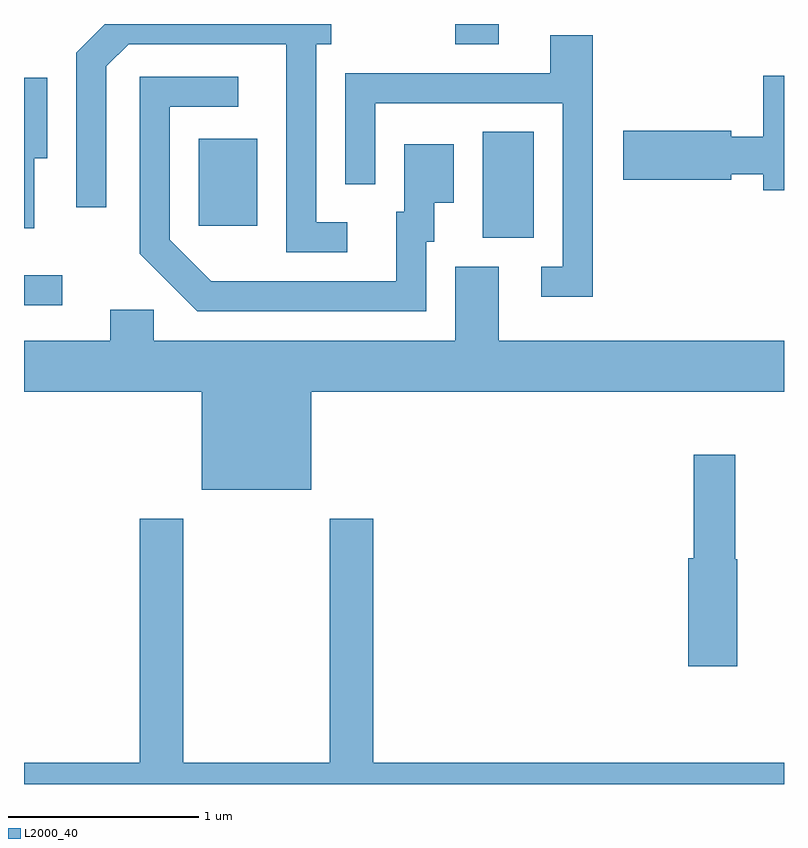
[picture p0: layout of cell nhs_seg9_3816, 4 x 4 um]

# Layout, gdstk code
import gdstk
lib = gdstk.Library(unit=1e-6, precision=1e-09)
def R(c, l, rs):  # rectangles x0, y0, x1, y1
    for r in rs: c.add(gdstk.rectangle(r[:2], r[2:], *l))
def P(c, l, *ps):  # polygons
    for p in ps: c.add(gdstk.Polygon(p, *l))
L2000_40 = (2000, 40)

nhs_seg9_3816 = lib.new_cell('nhs_seg9_3816')
R(nhs_seg9_3816, L2000_40, [(297.611,1978.951,297.813,1979.109), (300.026,1979.306,300.294,1979.864), (298.531,1979.371,298.839,1979.829), (299.881,1980.326,300.109,1980.432)])
P(nhs_seg9_3816, L2000_40, [(299.313,1979.389),(299.149,1979.389),(299.149,1980.326),(299.228,1980.326),(299.228,1980.432),(298.037,1980.432),(297.886,1980.282),(297.886,1979.468),(298.044,1979.468),(298.044,1980.209),(298.162,1980.326),(298.991,1980.326),(298.991,1979.231),(299.313,1979.231)],
  [(300.604,1980.374),(300.381,1980.374),(300.381,1980.174),(299.301,1980.174),(299.301,1979.588),(299.459,1979.588),(299.459,1980.016),(300.446,1980.016),(300.446,1979.154),(300.333,1979.154),(300.333,1978.996),(300.604,1978.996)],
  [(301.611,1980.159),(301.501,1980.159),(301.501,1979.839),(301.334,1979.839),(301.334,1979.869),(300.766,1979.869),(300.766,1979.611),(301.334,1979.611),(301.334,1979.641),(301.501,1979.641),(301.501,1979.556),(301.611,1979.556)],
  [(299.729,1979.286),(299.769,1979.286),(299.769,1979.491),(299.874,1979.491),(299.874,1979.799),(299.611,1979.799),(299.611,1979.444),(299.571,1979.444),(299.571,1979.079),(298.597,1979.079),(298.379,1979.297),(298.379,1979.996),(298.738,1979.996),(298.738,1980.154),(298.221,1980.154),(298.221,1979.224),(298.524,1978.921),(299.729,1978.921)],
  [(297.664,1979.726),(297.734,1979.726),(297.734,1980.149),(297.611,1980.149),(297.611,1979.356),(297.664,1979.356)],
  [(299.124,1978.496),(301.611,1978.496),(301.611,1978.764),(300.109,1978.764),(300.109,1979.154),(299.881,1979.154),(299.881,1978.764),(298.294,1978.764),(298.294,1978.929),(298.066,1978.929),(298.066,1978.764),(297.611,1978.764),(297.611,1978.496),(298.546,1978.496),(298.546,1977.981),(299.124,1977.981)],
  [(301.364,1977.615),(301.354,1977.615),(301.354,1978.164),(301.136,1978.164),(301.136,1977.619),(301.106,1977.619),(301.106,1977.051),(301.364,1977.051)],
  [(301.611,1976.544),(299.449,1976.544),(299.449,1977.829),(299.221,1977.829),(299.221,1976.544),(298.449,1976.544),(298.449,1977.829),(298.221,1977.829),(298.221,1976.544),(297.611,1976.544),(297.611,1976.432),(301.611,1976.432)])

lib.write_gds('nhs_seg9_3816.gds')
